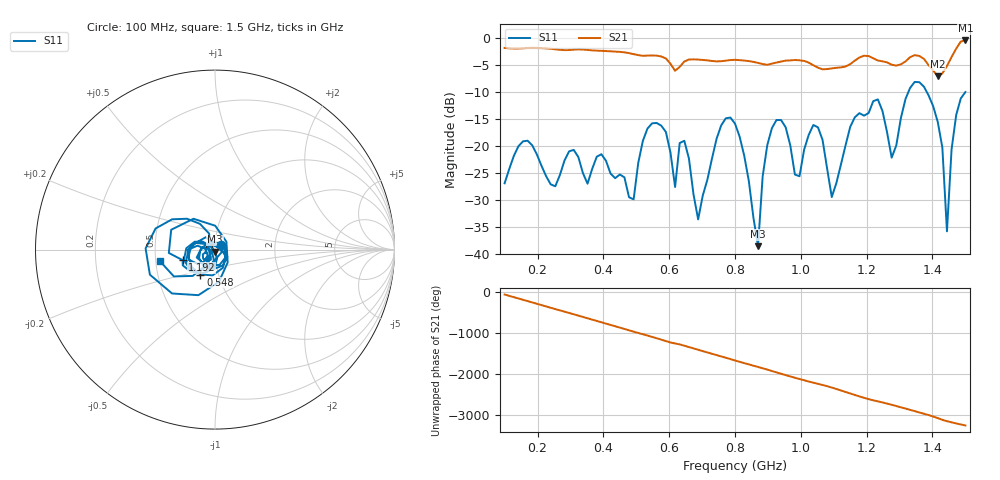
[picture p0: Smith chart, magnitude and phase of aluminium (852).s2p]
! NanoVNA-App
! Date: 2025-09-25 15:01:55
! Start: 100MHz Stop: 1,5GHz Points: 101
! S-Parameter data: F S11 S21 S12 S22
# Hz S RI R 50
!  Frequency  S11_Real  S11_Imag  S21_Real  S21_Imag  S12_Real  S12_Imag  S22_Real  S22_Imag
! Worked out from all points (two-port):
!   101 points, 100 MHz to 1.5 GHz, reference 50 ohm
!   highest |S21| = -0.54 dB at 1.5 GHz (marker M1); lowest = -7.2 dB at 1.416 GHz (marker M2)
!   |S21| within 3 dB of the highest: start of sweep to 577.4 MHz; 1.459 GHz to end of sweep (the widest 2 of 4)
!   lowest |S11| = -38.6 dB at 870 MHz (marker M3), VSWR 1.02, Z = 50 - j1.18 ohm
!   |S11| at or under -10 dB: start of sweep to 1.327 GHz; 1.382 GHz to end of sweep
!   S12 and S22 are empty: the file has one direction only
!   S11 on the Smith chart (normalised r, x): 100 MHz: 1.07, +0.06; 548 MHz: 0.82, -0.23; 1.192 GHz: 0.69, -0.08; 1.5 GHz: 0.53, -0.08
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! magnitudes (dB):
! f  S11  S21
! 100 MHz  -27.0  -1.9
! 170 MHz  -19.1  -1.9
! 338 MHz  -25.1  -2.2
! 492 MHz  -29.9  -3.1
! 548 MHz  -15.9  -3.3
! 576 MHz  -16.3  -3.5
! 618 MHz  -27.6  -6.1
! 646 MHz  -19.1  -4.4
! 688 MHz  -33.6  -4.1
! 800 MHz  -15.9  -4.1
! 870 MHz  -38.6  -4.7
! 912 MHz  -16.8  -4.8
! 996 MHz  -25.7  -4.2
! 1.038 GHz  -16.2  -5.1
! 1.094 GHz  -29.5  -5.7
! 1.192 GHz  -14.4  -3.4
! 1.276 GHz  -22.2  -5.0
! 1.346 GHz  -8.2  -3.2
! 1.416 GHz  -15.6  -7.2
! 1.444 GHz  -35.8  -5.3
! 1.458 GHz  -20.7  -3.6
! 1.5 GHz  -10.1  -0.5
